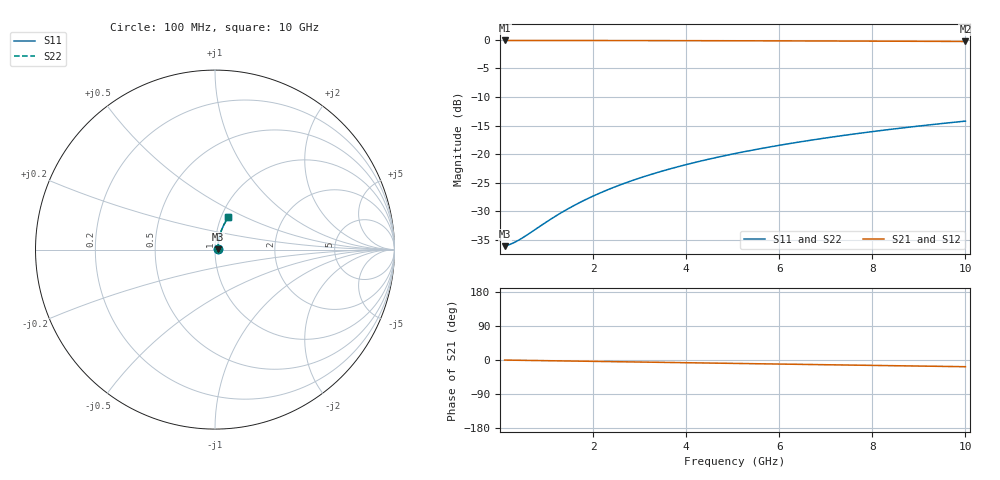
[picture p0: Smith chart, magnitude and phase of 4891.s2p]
# Hz S RI R 50.00
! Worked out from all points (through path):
!   100 points, 100 MHz to 10 GHz, reference 50 ohm
!   highest |S21| = -0.14 dB at 100 MHz (marker M1); lowest = -0.3 dB at 10 GHz (marker M2)
!   group delay of S21, straight-line fit = 4.92 ps
!   lowest |S11| = -36.1 dB at 100 MHz (marker M3), VSWR 1.03, Z = 51.6 + j0.201 ohm
!   |S11| at or under -10 dB: start of sweep to end of sweep
!   |S22| runs from -36.1 to -14.2 dB; largest |S21 - S12| = 0
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1e8  0.0156 0.00194  0.9844 -0.00308  0.9844 -0.00308  0.0156 0.00194
2e8  0.0157 0.00389  0.9843 -0.00615  0.9843 -0.00615  0.0157 0.00389
3e8  0.0158 0.00583  0.9842 -0.00923  0.9842 -0.00923  0.0158 0.00583
4e8  0.0159 0.00777  0.9841 -0.0123  0.9841 -0.0123  0.0159 0.00777
6e8  0.0161 0.0117  0.9838 -0.0185  0.9838 -0.0185  0.0161 0.0117
1e9  0.0167 0.0194  0.9833 -0.0307  0.9833 -0.0307  0.0167 0.0194
1.2e9  0.017 0.0233  0.9829 -0.0369  0.9829 -0.0369  0.017 0.0233
1.5e9  0.0175 0.0291  0.9823 -0.0461  0.9823 -0.0461  0.0175 0.0291
1.8e9  0.0182 0.0348  0.9816 -0.0553  0.9816 -0.0553  0.0182 0.0348
2.1e9  0.019 0.0406  0.9807 -0.0644  0.9807 -0.0644  0.019 0.0406
2.5e9  0.0202 0.0483  0.9794 -0.0766  0.9794 -0.0766  0.0202 0.0483
2.9e9  0.0215 0.0559  0.9779 -0.0888  0.9779 -0.0888  0.0215 0.0559
3.4e9  0.0235 0.0654  0.9757 -0.1039  0.9757 -0.1039  0.0235 0.0654
3.8e9  0.0253 0.0729  0.9738 -0.116  0.9738 -0.116  0.0253 0.0729
4.2e9  0.0272 0.0803  0.9716 -0.128  0.9716 -0.128  0.0272 0.0803
4.6e9  0.0294 0.0877  0.9692 -0.1399  0.9692 -0.1399  0.0294 0.0877
5.1e9  0.0323 0.0969  0.966 -0.1548  0.966 -0.1548  0.0323 0.0969
5.9e9  0.0376 0.1113  0.9601 -0.1783  0.9601 -0.1783  0.0376 0.1113
6.7e9  0.0435 0.1254  0.9535 -0.2015  0.9535 -0.2015  0.0435 0.1254
7.5e9  0.0501 0.1392  0.9462 -0.2244  0.9462 -0.2244  0.0501 0.1392
8.4e9  0.0583 0.1541  0.937 -0.2496  0.937 -0.2496  0.0583 0.1541
1e10  0.0747 0.1794  0.9186 -0.2932  0.9186 -0.2932  0.0747 0.1794
